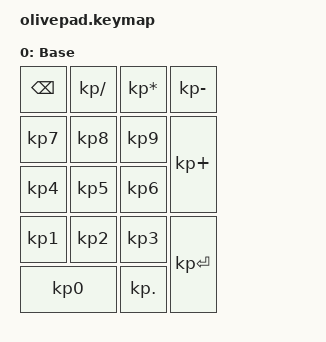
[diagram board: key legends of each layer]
#include <behaviors.dtsi>
#include <dt-bindings/zmk/keys.h>
#include <dt-bindings/zmk/bt.h>

/ {  

    combos {
        compatible = "zmk,combos";
    };

    keymap {
        compatible = "zmk,keymap";

        default_layer {
            label = "Base";
            bindings = <
                &kp BACKSPACE &kp KP_SLASH     &kp KP_ASTERISK     &kp KP_MINUS
                &kp KP_N7     &kp KP_N8        &kp KP_N9           &kp KP_PLUS
                &kp KP_N4     &kp KP_N5        &kp KP_N6
                &kp KP_N1     &kp KP_N2        &kp KP_N3           &kp KP_ENTER
                &kp KP_N0                      &kp KP_DOT
            >;
        }; 
    
    };
};
